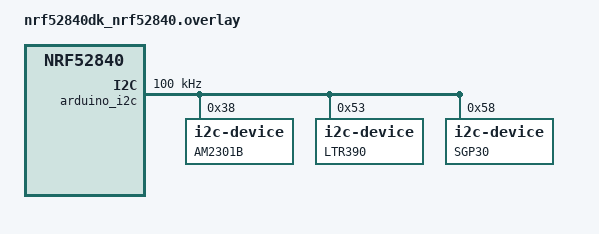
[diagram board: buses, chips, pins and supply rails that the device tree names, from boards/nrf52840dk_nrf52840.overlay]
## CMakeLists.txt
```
# SPDX-License-Identifier: Apache-2.0

cmake_minimum_required(VERSION 3.20.0)

find_package(Zephyr REQUIRED HINTS $ENV{ZEPHYR_BASE})
project(hello_world)

zephyr_include_directories(include)

FILE(GLOB app_sources src/*.c src/*/*.c)

target_sources(app PRIVATE ${app_sources})
```

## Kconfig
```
menu "MQTT info"

config MQTT_STATIC_BROKER_ADDR
    string "Static IP to MQTT broker"
    default "fd65:da0e:11d0:0:e65f:1ff:fe73:9779"

config UDP_PORT
    int "MQTT manager port"
    default 7131
config UDP_BUFFER_SIZE
    int "MQTT buffer size"
    default 128

config MQTT_TOPIC_RHS
    int "MQTT topic relative humidity signal"
    default 1
config MQTT_TOPIC_TOS
    int "MQTT topic temperature output signal"
    default 2
config MQTT_TOPIC_ALS
    int "MQTT topic ambient light signal"
    default 3
config MQTT_TOPIC_UVS
    int "MQTT topic ultra-violet signal"
    default 4
config MQTT_TOPIC_CO2
    int "MQTT topic carbon dioxide signal"
    default 5
config MQTT_TOPIC_TVOC
    int "MQTT topic total volatile organic compound"
    default 6

config MQTT_DEVICE_ROLE
    int "MQTT assigned device role (set 1 for 'sensor', and 2 for 'cmd'"
    default 1

endmenu

menu "Zephyr Kernel"
source "Kconfig.zephyr"
endmenu

module = THREAD_MQTT_SENSOR
module-str = OpenThread MQTT Sensor
```

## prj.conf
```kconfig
# https://developer.nordicsemi.com/nRF_Connect_SDK_dev/doc/PR-3842/nrf/ug_thread_configuring.html


# nRF board library
CONFIG_DK_LIBRARY=y

# Enabled networking features
CONFIG_NETWORKING=y

# Enable I2C
CONFIG_I2C=y

# Enable GPIO
CONFIG_GPIO=y

# L2 OpenThread enabling
CONFIG_NET_L2_OPENTHREAD=y

# Enabled Nordic's master OT lib
CONFIG_OPENTHREAD_NORDIC_LIBRARY_MASTER=y

# Manual start enabled to pre-set network credentials
CONFIG_OPENTHREAD_MANUAL_START=y


# Multi-protcol support
CONFIG_MPSL=y

CONFIG_NEWLIB_LIBC=y
```

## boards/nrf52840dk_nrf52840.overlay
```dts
&pwm0 {
    ch0-pin = < 33 >;
};

&arduino_i2c {
    clock-frequency = < 100000 >;
    am2301b:i2c-device@38 {
        compatible = "i2c-device";
        reg = < 0x38 >;
        label = "AM2301B";
    };

    ltr390:i2c-device@53 {
        compatible = "i2c-device";
        reg = < 0x53 >;
        label = "LTR390";
    };

    sgp30:i2c-device@58 {
        compatible = "i2c-device";
        reg = < 0x58 >;
        label = "SGP30";
    };
};
```

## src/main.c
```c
/**
 * @file main.c
 * @author Luke Holt (elh7695@umoncton.ca)
 * @brief File containing the main function for the OpenThread Greenhouse project. 
 * @version 0.1
 * @date 2022-04-14
 * 
 * 
 */


#include <string.h>
#include <assert.h>

#include <zephyr.h>

#include <openthread-core-zephyr-config.h>
#include <openthread/config.h>
#include <openthread/dataset.h>
#include <openthread/thread.h>
#include <openthread/tasklet.h>

#include "openthread-system.h"

/* Header for UDP functionality */
#include "mqtt_udp.h"

/* Headers for I2C sensors */
#include "am2301b.h"
#include "ltr390.h"
#include "sgp30.h"

/* Header to toggle LED */
#include "led.h"

/* OpenThread instance used for context throughout the app */
static otInstance *instance;

/* UDP message buffer used in handleUdpReceive */
static char UDP_MSG_BUFFER[CONFIG_UDP_BUFFER_SIZE];

static void handleNetifStateChanged(uint32_t aFlags, void *aContext);
static void set_net_config(otInstance *aInstance);
static void send_sensor_data(otInstance *aInstance);


/* Periodic work handler function that is called periodically */
static void sensor_work_handler(struct k_work *work)
{
	/* Periodic processing */

	send_sensor_data(instance);
}
K_WORK_DEFINE(work, sensor_work_handler);

static void timer_handler(struct k_timer *timer)
{
	k_work_submit(&work);
}
K_TIMER_DEFINE(timer, timer_handler, NULL);


// static void handleUdpReceive(void *aContext, otMessage *aMessage, const otMessageInfo *aMessageInfo);


int main(int argc, char * argv[])
{

pseudo_reset:

	otSysInit(argc, argv);
	instance = otInstanceInitSingle();
	assert(instance);

	/* Register Thread state change handler */
	otSetStateChangedCallback(instance, handleNetifStateChanged, instance);

	/* Override default network credentials.
		Bad practice. Only used for demonstration purposes. */
	set_net_config(instance);

	/* OT CLI: > ifconfig up */
	otIp6SetEnabled(instance, true);

	/* OT CLI: > thread start */
	otThreadSetEnabled(instance, true);

	/* Custom function to bring up UDP */
	initUdp(instance, handleUdpReceive);
	
	/* Calls to initiate the sensors */
	am2301b_init();
	ltr390_init();
	sgp30_init();

	printk("Setup complete.\r\n");

	/* Start the periodic timer for data read and tx */
	k_timer_start(&timer, K_SECONDS(5), K_SECONDS(5));

	/* Main loop processes */
	while(true)
	{
		otTaskletsProcess(instance);
		otSysProcessDrivers(instance);
	}

	otInstanceFinalize(instance);

	goto pseudo_reset;

	return 0;
}


/**
 * @brief Callback function that handles OpenThread network changes
 * 
 * @param aFlags 
 * @param aContext 
 */
void handleNetifStateChanged(uint32_t aFlags, void *aContext)
{
	if ((aFlags & OT_CHANGED_THREAD_ROLE) != 0)
	{
		otDeviceRole new_role = otThreadGetDeviceRole(aContext);
	
		switch (new_role)
		{
		case OT_DEVICE_ROLE_LEADER:
		 	printk("Role: LEADER.\r\n");
			break;
		case OT_DEVICE_ROLE_ROUTER:
		 	printk("Role: ROUTER.\r\n");
			break;
		case OT_DEVICE_ROLE_CHILD:
		 	printk("Role: CHILD.\r\n");
			break;
		case OT_DEVICE_ROLE_DETACHED:
		 	printk("Role: DETACHED.\r\n");
			break;
		case OT_DEVICE_ROLE_DISABLED:
		 	printk("Role: DISABLED.\r\n");
			break;
		}
	}
}


/**
 * @brief Set the net config for the active network
 * 		Bad practice. This function is only used for testing or demo purposes.
 * 
 * @param aInstance 
 */
void set_net_config(otInstance *aInstance)
{
	static char network_name[] = "PFE2022";

	otOperationalDataset dataset;

	memset(&dataset, 0, sizeof(otOperationalDataset));

	dataset.mActiveTimestamp = 1;
	dataset.mComponents.mIsActiveTimestampPresent = true;

	dataset.mChannel = 13;
	dataset.mComponents.mIsChannelPresent = true;
	
	/* Set PAN ID to BEEF */
	dataset.mPanId = (otPanId)0xbeef;
	dataset.mComponents.mIsPanIdPresent = true;

	/* Set Extended PAN ID to BEEFBEEFBEEFBEEF */
	uint8_t extPanId[OT_EXT_PAN_ID_SIZE] = {0xbe, 0xef, 0xbe, 0xef, 0xbe, 0xef, 0xbe, 0xef};
	memcpy(dataset.mExtendedPanId.m8, extPanId, sizeof(dataset.mExtendedPanId));
	dataset.mComponents.mIsExtendedPanIdPresent = true;

	/* Set Network Key to 0123456789ABCDEF0123456789ABCDEF */
	uint8_t key[OT_NETWORK_KEY_SIZE] = {0x01, 0x23, 0x45, 0x67, 0x89, 0xAB, 0xCD, 0xEF, 0x01, 0x23, 0x45, 0x67, 0x89, 0xAB, 0xCD, 0xEF};
	memcpy(dataset.mNetworkKey.m8, key, sizeof(dataset.mNetworkKey));
	dataset.mComponents.mIsNetworkKeyPresent = true;

	/* Set Network Name to Thread PFE2022 */
	size_t length = strlen(network_name);
	assert(length <= OT_NETWORK_NAME_MAX_SIZE);
	memcpy(dataset.mNetworkName.m8, network_name, length);
	dataset.mComponents.mIsNetworkNamePresent = true;

	switch (otDatasetSetActive(aInstance, &dataset))
	{
	case OT_ERROR_NONE:
		break;
	case OT_ERROR_NO_BUFS:
		printk("OT_ERROR_NO_BUFS\r\n");
		break;
	case OT_ERROR_NOT_IMPLEMENTED:
		printk("OT_ERROR_NOT_IMPLEMENTED\r\n");
		break;
	}
}


void send_sensor_data(otInstance *aInstance)
{
	printk("Send sensor data\r\n");
	/* Fetch data from sensors */
	am2301b_data_t am2301b_data = am2301b_get_data();
	ltr390_data_t ltr390_data = ltr390_get_data();
	sgp30_data_t sgp30_data = sgp30_get_data();

	/* Send sensor signals to MQTT manager */

	mqtt_set_buffer(
		instance, 
		CONFIG_MQTT_DEVICE_ROLE,
		CONFIG_MQTT_TOPIC_RHS,
		am2301b_data.rhs);
	sendUdp(instance);

	mqtt_set_buffer(
		instance,
		CONFIG_MQTT_DEVICE_ROLE,
		CONFIG_MQTT_TOPIC_TOS,
		am2301b_data.tos);
	sendUdp(instance);

	mqtt_set_buffer(
		instance,
		CONFIG_MQTT_DEVICE_ROLE,
		CONFIG_MQTT_TOPIC_ALS,
		ltr390_data.als);
	sendUdp(instance);

	mqtt_set_buffer(
		instance,
		CONFIG_MQTT_DEVICE_ROLE,
		CONFIG_MQTT_TOPIC_UVS,
		ltr390_data.uvs);
	sendUdp(instance);

	mqtt_set_buffer(
		instance,
		CONFIG_MQTT_DEVICE_ROLE,
		CONFIG_MQTT_TOPIC_CO2,
		sgp30_data.co2);
	sendUdp(instance);

	mqtt_set_buffer(
		instance,
		CONFIG_MQTT_DEVICE_ROLE,
		CONFIG_MQTT_TOPIC_TVOC,
		sgp30_data.tvoc);
	sendUdp(instance);
}


/**
 * @brief Callback function for when a UDP message is received.
 * 
 * @param aContext 
 * @param aMessage 
 * @param aMessageInfo 
 */
void handleUdpReceive(
    void *aContext,
    otMessage *aMessage,
    const otMessageInfo *aMessageInfo)
{
    OT_UNUSED_VARIABLE(aContext);
    OT_UNUSED_VARIABLE(aMessageInfo);

	uint16_t n_bytes_rx = otMessageRead(
		aMessage,
		otMessageGetOffset(aMessage),
		UDP_MSG_BUFFER,
		sizeof(UDP_MSG_BUFFER) - 1);

	uint32_t led = 
		UDP_MSG_BUFFER[0] << 24 |
		UDP_MSG_BUFFER[1] << 16 |
		UDP_MSG_BUFFER[2] << 8 |
		UDP_MSG_BUFFER[3];
	
	uint8_t state = UDP_MSG_BUFFER[4];

	set_led(led, state);
}
```

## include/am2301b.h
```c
#include "i2c_config.h"

#define AM2301B_ADDR        DT_REG_ADDR(DT_NODELABEL(am2301b))
#define AM2301B_DEV_NAME    DT_PROP(DT_NODELABEL(am2301b), label)


/**
 * @brief Structure for return sensor data.
 *  .rhs    Relative Humidity Signal,
 *  .tos    Temperature Ouput Signal.
 */
typedef struct {
    uint32_t rhs;
    uint32_t tos;
} am2301b_data_t;


/* Macro for creating return data struct */
#define AM2301B_NEW_DATA(_rhs, _tos)    \
{                                       \
    .rhs = _rhs,                        \
    .tos = _tos,                        \
}

void am2301b_init(void);


am2301b_data_t am2301b_get_data(void);
```

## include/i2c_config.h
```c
/* I2C hardware access information from Device Tree*/
#ifndef I2C_NODE
#define I2C_NODE            DT_NODELABEL(i2c0)
#endif

#ifndef I2C_SCL
#define I2C_SCL             DT_PROP(I2C_NODE, scl_pin)
#endif

#ifndef I2C_SDA
#define I2C_SDA             DT_PROP(I2C_NODE, sda_pin)
#endif

#ifndef I2C_CLK_FREQ
#define I2C_CLK_FREQ        DT_PROP(I2C_NODE, clock_frequency)
#endif

#ifndef I2C_BUFFER_SIZE
#define I2C_BUFFER_SIZE     14
#endif

/* Macro to compare a status byte with a flags byte */
#define COMPARE_FLAGS(status, flags) ((status & flags) == flags) ? 1 : 0

/* Macro to handle generic success verification for I2C transfer functions */
#define I2C_ERROR_CHECK(err, file, func, line) (err != 0)                                                                   \
    ? printk("ERR: I2C general input/output error in %s. File: %s -> line : %u\r\n", func, file, line)                      \
    : 1

/* Macro to log I2C device error in serial */
#define I2C_LOG_DEV_ERROR(file, func, line) do                                                                              \
{                                                                                                                           \
    printk("ERR: I2C device not initiated or not in Device Tree. (%s)\nFile: %s : Line: %u\r\n", func, file, line);         \
} while(0);
```

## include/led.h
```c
#include <drivers/gpio.h>


/* Device tree info for builtin LED 0 to 4 */
/* LED0 */
#define LED0_NODE DT_ALIAS(led0)

#define LED0    DT_GPIO_LABEL(LED0_NODE, gpios)
#define PIN0    DT_GPIO_PIN(LED0_NODE, gpios)
#define FLAGS0  DT_GPIO_FLAGS(LED0_NODE, gpios)

/* LED1 */
#define LED1_NODE DT_ALIAS(led1)

#define LED1    DT_GPIO_LABEL(LED1_NODE, gpios)
#define PIN1    DT_GPIO_PIN(LED1_NODE, gpios)
#define FLAGS1  DT_GPIO_FLAGS(LED1_NODE, gpios)

/* LED2 */
#define LED2_NODE DT_ALIAS(led2)

#define LED2    DT_GPIO_LABEL(LED2_NODE, gpios)
#define PIN2    DT_GPIO_PIN(LED2_NODE, gpios)
#define FLAGS2  DT_GPIO_FLAGS(LED2_NODE, gpios)

/* LED3 */
#define LED3_NODE DT_ALIAS(led3)

#define LED3    DT_GPIO_LABEL(LED3_NODE, gpios)
#define PIN3    DT_GPIO_PIN(LED3_NODE, gpios)
#define FLAGS3  DT_GPIO_FLAGS(LED3_NODE, gpios)



void set_led(uint32_t led, uint8_t state);
```

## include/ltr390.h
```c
#include "i2c_config.h"

#define LTR390_ADDR         DT_REG_ADDR(DT_NODELABEL(ltr390))
#define LTR390_DEV_NAME     DT_PROP(DT_NODELABEL(ltr390), label)


/* Internal addresses to sensor. See LTR390 datasheet for details. */
#define LTR390_ADDR_MAIN_CTRL       0x00
#define LTR390_ADDR_PART_ID         0x06
#define LTR390_ADDR_MAIN_STATUS     0x07

#define LTR390_ADDR_UVS_GAIN        0x05

#define LTR390_ADDR_ALS_DATA_0      0x0D
#define LTR390_ADDR_ALS_DATA_1      0x0E
#define LTR390_ADDR_ALS_DATA_2      0x0F

#define LTR390_ADDR_UVS_DATA_0      0x10
#define LTR390_ADDR_UVS_DATA_1      0x11
#define LTR390_ADDR_UVS_DATA_2      0x12

// #define LTR390_CHECK_MODE(status)   ((status & 0b1000) == 0b1000) ? "uvs" : "als"


/**
 * @brief Structure for return sensor data.
 *  .als    Ambient Light Signal
 *  .uvs    Ultra-Violet Signal
 */
typedef struct {
    uint32_t als;
    uint32_t uvs;
} ltr390_data_t;

/* Macro for creating return data struct */
#define LTR390_NEW_DATA(_als, _uvs)    \
{                                      \
    .als = _als,                       \
    .uvs = _uvs,                       \
}

void ltr390_init(void);


ltr390_data_t ltr390_get_data(void);
```

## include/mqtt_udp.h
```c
/**
 * @file mqtt_udp.h
 * @author Luke Holt (elh7695@umoncton.ca)
 * @brief Declaration of functions used to abstract UDP and MQTT communications.
 * @version 0.1
 * @date 2022-04-14
 * 
 * 
 */

#include <openthread/instance.h>


extern void handleUdpReceive(
    void *aContext,
    otMessage *aMessage,
    const otMessageInfo *aMessageInfo);


void initUdp(otInstance *aInstance, void *rx_callback);

void sendUdp(otInstance *aInstance);

void mqtt_set_buffer(otInstance *aInstance, uint8_t role, uint8_t topic, uint32_t raw_data);
```

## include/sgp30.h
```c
#include "i2c_config.h"

#define SGP30_ADDR          DT_REG_ADDR(DT_NODELABEL(sgp30))
#define SGP30_DEV_NAME      DT_PROP(DT_NODELABEL(sgp30), label)


/**
 * @brief Structure for return sensor data.
 *  .co2    Carbon Dioxide reading
 *  .tos    Total Volatile Organic Compounds
 */
typedef struct {
    uint16_t co2;
    uint16_t tvoc;
} sgp30_data_t;


#define SGP30_NEW_DATA(_co2, _tvoc)     \
{                                       \
    .co2    =   _co2,                   \
    .tvoc   =   _tvoc,                  \
}



void sgp30_init(void);


sgp30_data_t sgp30_get_data(void);
```

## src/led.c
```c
/**
 * @file led.c
 * @author your name (you@domain.com)
 * @brief Implementation of "set_led()". 
 * @version 0.1
 * @date 2022-04-19
 * 
 * 
 */


#include <drivers/gpio.h>
#include "led.h"


/* Device struct for each LED */
static const struct device *dev_led0;
static const struct device *dev_led1;
static const struct device *dev_led2;
static const struct device *dev_led3;


static void dev_init()
{
    dev_led0 = device_get_binding(LED0);
    dev_led1 = device_get_binding(LED1);
    dev_led2 = device_get_binding(LED2);
    dev_led3 = device_get_binding(LED3);

    if (dev_led0 == NULL)
    {
        printk("LED0 device not found in Device Tree.\r\n");
    }
    else if (dev_led1 == NULL)
    {
        printk("LED1 device not found in Device Tree.\r\n");
    }
    else if (dev_led2 == NULL)
    {
        printk("LED2 device not found in Device Tree.\r\n");
    }
    else if (dev_led3 == NULL)
    {
        printk("LED3 device not found in Device Tree.\r\n");
    }

    int ret_code;
    ret_code = gpio_pin_configure(dev_led0, PIN0, GPIO_OUTPUT_ACTIVE);
    if (ret_code < 0) printk("LED0 configuration failed. RC: %d\r\n", ret_code);

    ret_code = gpio_pin_configure(dev_led1, PIN1, GPIO_OUTPUT_ACTIVE);
    if (ret_code < 0) printk("LED1 configuration failed. RC: %d\r\n", ret_code);

    ret_code = gpio_pin_configure(dev_led2, PIN2, GPIO_OUTPUT_ACTIVE);
    if (ret_code < 0) printk("LED2 configuration failed. RC: %d\r\n", ret_code);

    ret_code = gpio_pin_configure(dev_led3, PIN3, GPIO_OUTPUT_ACTIVE);
    if (ret_code < 0) printk("LED3 configuration failed. RC: %d\r\n", ret_code);
}


void set_led(uint32_t led, uint8_t state)
{
    if (dev_led0 == NULL ||
        dev_led1 == NULL ||
        dev_led2 == NULL ||
        dev_led3 == NULL) dev_init();

    if (led == 0x6c656430)
    {
        if (state == 0x69) // i
        {
            gpio_pin_set(dev_led0, PIN0, GPIO_ACTIVE_HIGH);
        }
        else if (state == 0x6f) // o
        {
            gpio_pin_set(dev_led0, PIN0, GPIO_ACTIVE_LOW);
        }
    }
    else if (led == 0x6c656431)
    {
        if (state == 0x69) // i
        {
            gpio_pin_set(dev_led1, PIN1, GPIO_ACTIVE_HIGH);
        }
        else if (state == 0x6f) // o
        {
            gpio_pin_set(dev_led1, PIN1, GPIO_ACTIVE_LOW);
        }
    }
    else if (led == 0x6c656432)
    {
        if (state == 0x69) // i
        {
            gpio_pin_set(dev_led2, PIN2, GPIO_ACTIVE_HIGH);
        }
        else if (state == 0x6f) // o
        {
            gpio_pin_set(dev_led2, PIN2, GPIO_ACTIVE_LOW);
        }
    }
    else if (led == 0x6c656433)
    {
        if (state == 0x69) // i
        {
            gpio_pin_set(dev_led3, PIN3, GPIO_ACTIVE_HIGH);
        }
        else if (state == 0x6f) // o
        {
            gpio_pin_set(dev_led3, PIN3, GPIO_ACTIVE_LOW);
        }
    }
}
```

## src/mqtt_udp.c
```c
/**
 * @file mqtt_udp.c
 * @author Luke Holt (elh7695@umoncton.ca)
 * @brief Implementation of functions described in mqtt_udp.h for the OpenThread Greenhouse senior design project.
 * @version 0.1
 * @date 2022-04-14
 * 
 * 
 */



#include <zephyr.h>

#include <string.h>

#include <openthread/instance.h>

#include <openthread/message.h>
#include <openthread/udp.h>
#include <openthread/thread.h>

#include <utils/code_utils.h>

#include "mqtt_udp.h"


static char UDP_DEST_ADDR[] = "fdd2:5b89:6728:0:e65f:1ff:fe73:9779";
static char UDP_PAYLOAD[CONFIG_UDP_BUFFER_SIZE];
static uint8_t cursor_pos;

static otUdpSocket sUdpSocket;



void initUdp(otInstance *aInstance, void *rx_callback)
{
    otSockAddr listenSockAddr;

    memset(&sUdpSocket, 0, sizeof(sUdpSocket));
    memset(&listenSockAddr, 0, sizeof(listenSockAddr));

    listenSockAddr.mPort = CONFIG_UDP_PORT;
    otUdpOpen(aInstance, &sUdpSocket, handleUdpReceive, aInstance);
    otUdpBind(aInstance, &sUdpSocket, &listenSockAddr, OT_NETIF_THREAD);
}


void sendUdp(otInstance *aInstance)
{
    otError err = OT_ERROR_NONE;
    otMessage *message;
    otMessageInfo messageInfo;
    otIp6Address destinationAddr;

    memset(&messageInfo, 0, sizeof(messageInfo));

    otIp6AddressFromString(UDP_DEST_ADDR, &destinationAddr);
    messageInfo.mPeerAddr = destinationAddr;
    messageInfo.mPeerPort = CONFIG_UDP_PORT;

    message = otUdpNewMessage(aInstance, NULL);
    otEXPECT_ACTION(message != NULL, err = OT_ERROR_NO_BUFS);

    /* The "+ 1" is to include a NULL byte at the end */
    err = otMessageAppend(message, UDP_PAYLOAD, cursor_pos + 1);
    otEXPECT(err == OT_ERROR_NONE);

    err = otUdpSend(aInstance, &sUdpSocket, message, &messageInfo);

exit:
    if (err != OT_ERROR_NONE && message != NULL)
    {
        otMessageFree(message);
    }
}


void mqtt_set_buffer(otInstance *aInstance, uint8_t role, uint8_t topic, uint32_t raw_data)
{
    memset(UDP_PAYLOAD, 0, sizeof(UDP_PAYLOAD));
    
    uint16_t rloc16 = otThreadGetRloc16(aInstance);

    /* Write RLOC16 (see openthread.io for details) and MQTT topic to buffer */
    UDP_PAYLOAD[0] = (rloc16 >> 8);
    UDP_PAYLOAD[1] = rloc16 & 0xff;
    UDP_PAYLOAD[2] = (role << 4) | topic;

    /* Write sensor data signal to buffer */
    UDP_PAYLOAD[3] = (raw_data >> 24);
    UDP_PAYLOAD[4] = (raw_data >> 16) & 0xff;
    UDP_PAYLOAD[5] = (raw_data >> 8) & 0xff;
    UDP_PAYLOAD[6] = raw_data & 0xff;

    cursor_pos = 7;
}
```
